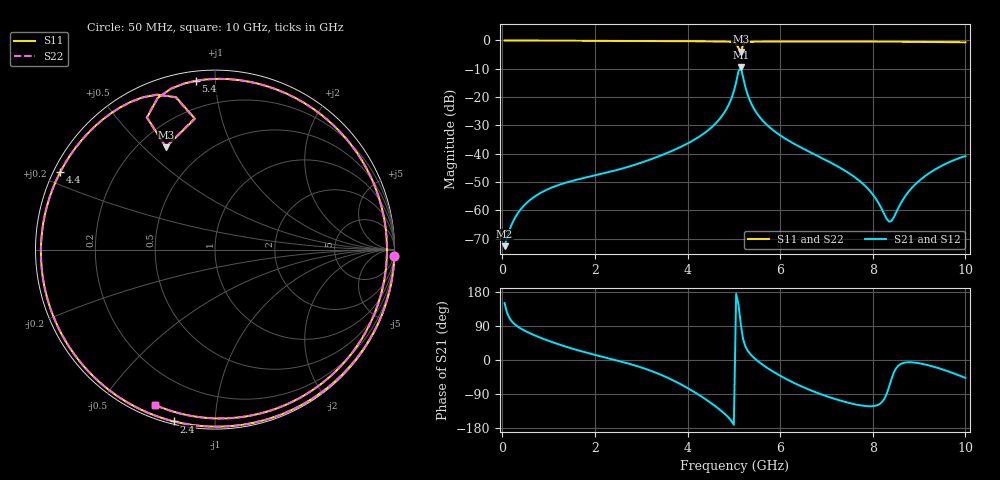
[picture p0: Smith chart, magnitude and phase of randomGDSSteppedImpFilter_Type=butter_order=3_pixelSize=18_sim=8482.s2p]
! freq	dB(S11)	phase(S11)	dB(S12)	phase(S12)
!  dB(S21)	phase(S21)	dB(S22)	phase(S22)
!S-par simulation data
#  GHz  S  DB  R 50
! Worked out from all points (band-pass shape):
!   200 points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, 50 MHz to 10 GHz, reference 50 ohm
!   highest |S21| = -9.50 dB at 5.15 GHz (marker M1); lowest = -72.7 dB at 50 MHz (marker M2)
!   |S21| within 3 dB of the highest: 5.079 GHz to 5.193 GHz (114.1 MHz wide, 2.22 % of centre)
!   lowest |S11| = -4.0 dB at 5.15 GHz (marker M3), VSWR 4.45, Z = 15.4 + j29.3 ohm
!   |S11| at or under -10 dB: nowhere
!   |S22| runs from -4.0 to 0.0 dB; largest |S21 - S12| = 0
!   S11 on the Smith chart (normalised r, x): 50 MHz: 0, -54; 2.4 GHz: 0.01, -0.79; 4.4 GHz: 0.02, +0.24; 5.4 GHz: 0.05, +0.89; 10 GHz: 0.06, -0.68
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0.05  -0.00 -2.1  -72.70 150.3  -72.70 150.3  -0.00 -2.1
0.25  -0.01 -10.7  -63.41 96.5  -63.41 96.5  -0.01 -10.7
0.55  -0.02 -23.5  -57.06 73.3  -57.06 73.3  -0.02 -23.5
1.2  -0.06 -51.1  -51.17 42.0  -51.17 42.0  -0.06 -51.1
1.75  -0.10 -74.8  -48.64 21.7  -48.64 21.7  -0.10 -74.7
2.4  -0.14 -103.4  -46.10 1.2  -46.10 1.2  -0.14 -103.4
3.4  -0.21 -151.1  -40.81 -37.8  -40.81 -37.8  -0.21 -151.0
3.9  -0.26 -177.6  -37.24 -67.1  -37.24 -67.1  -0.26 -177.5
4.4  -0.31 153.3  -32.31 -104.5  -32.31 -104.5  -0.31 153.4
4.8  -0.40 127.2  -25.35 -141.7  -25.35 -141.7  -0.40 127.3
5.05  -1.15 104.3  -14.78 174.5  -14.78 174.5  -1.14 104.5
5.1  -2.64 98.7  -10.91 146.5  -10.91 146.5  -2.63 98.9
5.15  -3.98 115.6  -9.50 94.6  -9.50 94.6  -3.96 115.7
5.2  -1.64 117.2  -12.95 54.9  -12.95 54.9  -1.64 117.3
5.4  -0.48 96.5  -23.10 9.8  -23.10 9.8  -0.48 96.7
5.95  -0.39 58.8  -32.97 -38.0  -32.97 -38.0  -0.39 58.9
6.7  -0.37 14.4  -39.91 -82.0  -39.91 -82.0  -0.37 14.5
7.2  -0.37 -11.1  -44.12 -103.4  -44.12 -103.4  -0.37 -11.0
7.8  -0.39 -37.8  -50.85 -120.9  -50.85 -120.9  -0.39 -37.7
8.35  -0.43 -59.0  -64.01 -71.7  -64.01 -71.7  -0.43 -58.9
9  -0.50 -81.1  -49.62 -8.5  -49.62 -8.5  -0.50 -81.0
10  -0.65 -111.2  -40.84 -47.2  -40.84 -47.2  -0.65 -111.2
